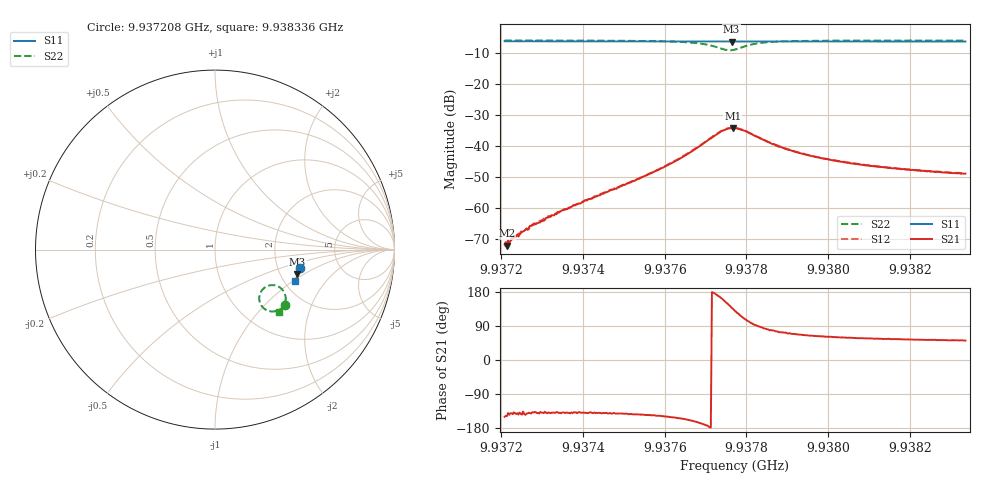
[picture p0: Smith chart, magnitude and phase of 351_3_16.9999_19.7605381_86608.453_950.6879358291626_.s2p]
#  HZ  S  RI  R  50.00
! Rohde & Schwarz Vector Network Analyzer
! Rohde-Schwarz,ZNB20-2Port,1311601062101988,3.16
! Created: UTC 3/20/2024, 11:07:50 PM
! freq[Hz]  re:S11  im:S11  re:S21  im:S21  re:S12  im:S12  re:S22  im:S22
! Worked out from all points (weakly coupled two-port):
!   401 points, 9.937208 GHz to 9.938336 GHz, reference 50 ohm
!   highest |S21| = -34.21 dB at 9.937766 GHz (marker M1); lowest = -72.2 dB at 9.937214 GHz (marker M2)
!   lowest |S11| = -6.4 dB at 9.937763 GHz (marker M3), VSWR 2.84, Z = 124 - j44.2 ohm
!   |S11| at or under -10 dB: nowhere
!   |S22| runs from -9.2 to -6.0 dB; largest |S21 - S12| = 0.00076
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9.9372081e9  0.473 -0.102  -0.000224 -0.000129  -0.000216 -0.000128  0.3897 -0.3107
9.9372138e9  0.4728 -0.1024  -0.000208 -0.00013  -0.000214 -0.000167  0.3895 -0.3111
9.937225e9  0.4727 -0.1033  -0.000237 -0.000195  -0.000251 -0.000201  0.3888 -0.3119
9.9372758e9  0.4717 -0.1067  -0.000395 -0.000358  -0.000403 -0.000345  0.385 -0.3154
9.9373012e9  0.4712 -0.1084  -0.000464 -0.000406  -0.000506 -0.000394  0.383 -0.3173
9.9373491e9  0.4703 -0.1116  -0.000685 -0.000604  -0.000682 -0.000578  0.379 -0.3206
9.937397e9  0.4692 -0.1148  -0.000928 -0.000797  -0.000939 -0.000802  0.3746 -0.3243
9.9375295e9  0.4662 -0.1237  -0.00228 -0.00168  -0.00229 -0.00167  0.3568 -0.3362
9.9375859e9  0.4648 -0.1275  -0.00348 -0.00224  -0.00357 -0.00222  0.3436 -0.3414
9.9376423e9  0.4634 -0.1312  -0.0059 -0.00275  -0.00608 -0.00273  0.3211 -0.345
9.9376986e9  0.4614 -0.1349  -0.0112 -0.00171  -0.0114 -0.00155  0.2779 -0.3319
9.9377409e9  0.4596 -0.1369  -0.0165 0.0056  -0.0165 0.0063  0.2465 -0.2673
9.9377635e9  0.4591 -0.1376  -0.0143 0.0127  -0.0143 0.0135  0.2717 -0.216
9.9377663e9  0.4592 -0.1376  -0.0139 0.0137  -0.0138 0.0141  0.2778 -0.211
9.9377719e9  0.4591 -0.1379  -0.0123 0.0148  -0.0121 0.0155  0.2909 -0.2037
9.9377945e9  0.4594 -0.1388  -0.00574 0.0165  -0.00541 0.0169  0.3432 -0.2016
9.9378311e9  0.4592 -0.1415  0.000411 0.0135  0.000667 0.0136  0.3851 -0.2368
9.937896e9  0.4582 -0.1462  0.00266 0.00845  0.003 0.00848  0.3934 -0.2814
9.9379608e9  0.4566 -0.1507  0.00295 0.00614  0.00313 0.00614  0.3877 -0.303
9.9380595e9  0.4541 -0.1572  0.00271 0.00441  0.00285 0.00442  0.3784 -0.3204
9.9381497e9  0.4516 -0.163  0.00246 0.00366  0.00261 0.00365  0.371 -0.3304
9.9383357e9  0.4463 -0.1748  0.00223 0.00278  0.00227 0.00277  0.3576 -0.3449
